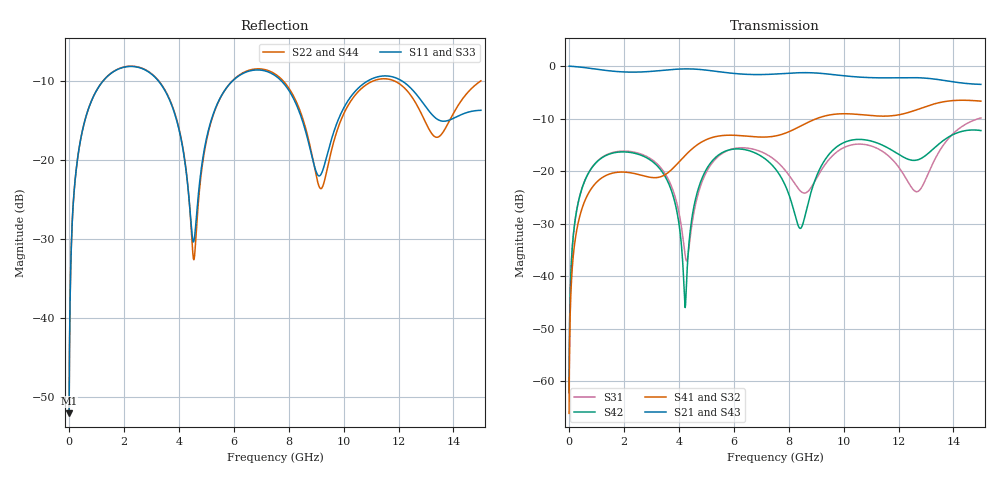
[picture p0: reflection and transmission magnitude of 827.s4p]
! Created with skrf 1.8.0 (http://scikit-rf.org).
# GHz S RI R 50.0
!freq ReS11 ImS11 ReS12 ImS12 ReS13 ImS13
! ReS14 ImS14
! ReS21 ImS21 ReS22 ImS22 ReS23 ImS23
! ReS24 ImS24
! ReS31 ImS31 ReS32 ImS32 ReS33 ImS33
! ReS34 ImS34
! ReS41 ImS41 ReS42 ImS42 ReS43 ImS43
! ReS44 ImS44
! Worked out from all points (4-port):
!   2499 points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, 5 MHz to 15 GHz, reference 50 ohm
!   strongest paths, dB at 5 MHz, 3.476 GHz, 7.19 GHz, 11.1 GHz, 15 GHz:
!     S21: 0.0, -0.8, -1.6, -2.2, -3.5
!     S43: 0.0, -0.8, -1.6, -2.2, -3.5
!     S41: -66.1, -20.8, -13.5, -9.5, -6.7
!     S32: -66.1, -20.8, -13.6, -9.5, -6.8
!     S42: -62.2, -20.8, -17.9, -14.4, -12.3
!     S31: -62.2, -20.3, -16.8, -15.4, -9.9
!   lowest |S11| = -52.1 dB at 5 MHz (marker M1), VSWR 1.00, Z = 50.2 + j0.151 ohm
!   |S11| at or under -10 dB: 3.267 GHz to 5.943 GHz (2.676 GHz wide, 58.1 % of centre); 7.749 GHz to 10.85 GHz (3.105 GHz wide, 33.4 % of centre); 12.15 GHz to end of sweep (the widest 3 of 4)
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0.005  0.00197 0.0015  0.998 -0.00384  9.97e-05 0.000766  -9.68e-05 -0.000484
       0.998 -0.00384  0.00197 0.0015  -9.68e-05 -0.000484  9.96e-05 0.000766
       9.97e-05 0.000766  -9.68e-05 -0.000484  0.00197 0.0015  0.998 -0.00384
       -9.68e-05 -0.000484  9.96e-05 0.000766  0.998 -0.00384  0.00197 0.0015
0.3626511  0.0414 0.1098  0.9426 -0.2717  0.02 0.05  -0.0163 -0.0305
           0.9426 -0.2717  0.0415 0.1098  -0.0163 -0.0305  0.0194 0.0502
           0.02 0.05  -0.0163 -0.0305  0.0414 0.1098  0.9426 -0.2717
           -0.0163 -0.0305  0.0194 0.0502  0.9426 -0.2717  0.0415 0.1098
1.619545  0.338 0.1353  0.3754 -0.8102  0.1481 0.0289  -0.0935 0.0223
          0.3754 -0.8102  0.3398 0.1334  -0.0934 0.022  0.1442 0.0376
          0.1481 0.0289  -0.0934 0.022  0.3381 0.1352  0.3755 -0.8102
          -0.0935 0.0223  0.1442 0.0376  0.3755 -0.8102  0.3397 0.1335
4.233014  0.0474 -0.0814  -0.8994 -0.2743  -0.0139 -0.00695  -0.0358 0.1365
          -0.8994 -0.2743  0.0413 -0.0866  -0.0377 0.1359  0.00498 0.000653
          -0.0139 -0.00695  -0.0377 0.1359  0.0471 -0.0812  -0.8994 -0.2744
          -0.0358 0.1365  0.00498 0.000653  -0.8994 -0.2744  0.0414 -0.0862
5.345977  0.146 0.1595  -0.7795 0.4331  0.1048 0.0786  0.1323 0.1671
          -0.7795 0.4331  0.1409 0.1612  0.1298 0.1685  0.1103 0.0787
          0.1048 0.0786  0.1298 0.1685  0.1466 0.1598  -0.7795 0.433
          0.1323 0.1671  0.1103 0.0787  -0.7795 0.433  0.1403 0.1613
9.153814  0.08 0.00478  0.8475 0.1004  -0.02 0.0965  0.0265 -0.3242
          0.8475 0.1004  0.0654 -0.00984  0.0352 -0.3238  0.0155 0.1063
          -0.02 0.0965  0.0352 -0.3238  0.0761 0.00545  0.8474 0.1011
          0.0265 -0.3242  0.0155 0.1063  0.8474 0.1011  0.0689 -0.0104
15  0.2063 -0.0189  -0.5521 0.3785  0.3142 0.0636  0.3353 0.3202
    -0.5521 0.3785  0.3118 0.0648  0.3191 0.3284  0.1626 0.1808
    0.3142 0.0636  0.3191 0.3284  0.2158 -0.0242  -0.5552 0.3765
    0.3353 0.3202  0.1626 0.1808  -0.5552 0.3765  0.2991 0.0617
